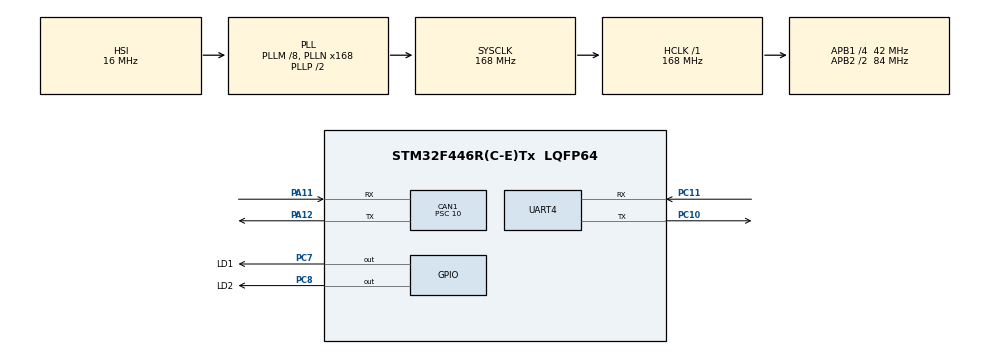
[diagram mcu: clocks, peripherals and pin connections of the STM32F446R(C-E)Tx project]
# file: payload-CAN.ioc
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CAN1.BS1=CAN_BS1_12TQ
CAN1.BS2=CAN_BS2_8TQ
CAN1.CalculateBaudRate=200000
CAN1.CalculateTimeBit=5000
CAN1.CalculateTimeQuantum=238.0952380952381
CAN1.Mode=CAN_MODE_NORMAL
CAN1.Prescaler=10
Mcu.Family=STM32F4
Mcu.Name=STM32F446R(C-E)Tx
Mcu.Package=LQFP64
NVIC.CAN1_RX0_IRQn=true\:0\:0\:false\:false\:true\:true\:true\:true
NVIC.CAN1_RX1_IRQn=true\:0\:0\:false\:false\:true\:true\:true\:true
NVIC.PriorityGroup=NVIC_PRIORITYGROUP_0
PA11.Mode=CAN_Activate
PA11.Signal=CAN1_RX
PA12.Mode=CAN_Activate
PA12.Signal=CAN1_TX
PC10.Mode=Asynchronous
PC10.Signal=UART4_TX
PC11.Mode=Asynchronous
PC11.Signal=UART4_RX
PC7.GPIO_Label=LD1
PC7.Signal=GPIO_Output
PC8.GPIO_Label=LD2
PC8.Signal=GPIO_Output
PH0-OSC_IN.Mode=HSE-External-Oscillator
PH0-OSC_IN.Signal=RCC_OSC_IN
PH1-OSC_OUT.Mode=HSE-External-Oscillator
PH1-OSC_OUT.Signal=RCC_OSC_OUT
ProjectManager.HeapSize=0x200
ProjectManager.StackSize=0x400
ProjectManager.TargetToolchain=STM32CubeIDE
RCC.48MHZClocksFreq_Value=84000000
RCC.AHBFreq_Value=168000000
RCC.APB1CLKDivider=RCC_HCLK_DIV4
RCC.APB1Freq_Value=42000000
RCC.APB1TimFreq_Value=84000000
RCC.APB2CLKDivider=RCC_HCLK_DIV2
RCC.APB2Freq_Value=84000000
RCC.APB2TimFreq_Value=168000000
RCC.CortexFreq_Value=168000000
RCC.FLatency-AdvancedSettings=FLASH_LATENCY_5
RCC.HCLKFreq_Value=168000000
RCC.HSE_VALUE=8000000
RCC.HSI_VALUE=16000000
RCC.PLLM=8
RCC.PLLN=168
RCC.SYSCLKFreq_VALUE=168000000
RCC.SYSCLKSource=RCC_SYSCLKSOURCE_PLLCLK
RCC.USBFreq_Value=168000000
RCC.VCOOutputFreq_Value=336000000
UART4.VirtualMode=Asynchronous
board=NUCLEO-F446RE

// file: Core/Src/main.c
/* USER CODE BEGIN Header */
/**
  ******************************************************************************
  * @file           : main.c
  * @brief          : Main program body
  ******************************************************************************
  * @attention
  *
  * Copyright (c) 2024 STMicroelectronics.
  * All rights reserved.
  *
  * This software is licensed under terms that can be found in the LICENSE file
  * in the root directory of this software component.
  * If no LICENSE file comes with this software, it is provided AS-IS.
  *
  ******************************************************************************
  */
/* USER CODE END Header */
#include "main.h"

/* USER CODE BEGIN Includes */
#include "serial_monitor.h"
#include "CAN_bus.h"
/* USER CODE END Includes */

CAN_HandleTypeDef hcan1;

UART_HandleTypeDef huart4;

void SystemClock_Config(void);
static void MX_GPIO_Init(void);
static void MX_CAN1_Init(void);
static void MX_UART4_Init(void);

/* USER CODE BEGIN 0 */
struct CAN_bus_handler can;

uint32_t TxMailbox;

void HAL_CAN_RxFifo0MsgPendingCallback(CAN_HandleTypeDef *hcan1)
{
	CAN_bus_receive(&can);
	printf("Message interrupt triggered");
}

//void HAL_CAN_RxFifo1MsgPendingCallback(CAN_HandleTypeDef *hcan1)
//{
//	CAN_RxHeaderTypeDef RxHeader;
//	uint8_t RxData[8];
//	printf("| AV -------------------------------\r\n");
//	while (HAL_CAN_GetRxFifoFillLevel(hcan1, CAN_RX_FIFO1) > 0)
//	{
//		HAL_CAN_GetRxMessage(hcan1, CAN_RX_FIFO1, &RxHeader, RxData);
//		switch (RxHeader.StdId)
//		{
//		case 0x200:
//			union CAN_msg_1_u msg1;
//			memcpy(&msg1, RxData, sizeof(RxData));
//			printf("| Received message 1. ok: %d, sampling state: %d, temperature control state: %d, target temp: %d, current temp: %d, battery voltage: %d\r\n",
//					msg1.msg.ok,
//					msg1.msg.sampling_state,
//					msg1.msg.temp_ctrl_state,
//					msg1.msg.target_temp,
//					msg1.msg.current_temp,
//					msg1.msg.battery_voltage);
//			break;
//		case 0x201:
//			union CAN_msg_2_u msg2;
//			memcpy(&msg2, RxData, sizeof(RxData));
//			printf("| Received message 2. x frequency: %d, y frequency: %d, z frequency: %d, x amplitude: %d\r\n",
//					msg2.msg.frqX,
//					msg2.msg.frqY,
//					msg2.msg.frqZ,
//					msg2.msg.ampX);
//			break;
//		case 0x202:
//			union CAN_msg_3_u msg3;
//			memcpy(&msg3, RxData, sizeof(RxData));
//			printf("| Received message 3. y amplitude: %d, z amplitude: %d, time: %ld\r\n",
//					msg3.msg.ampY,
//					msg3.msg.ampZ,
//					msg3.msg.time_elapsed);
//			break;
//		}
//	}
//	printf("| ----------------------------------\r\n\r\n");
//}

/* USER CODE END 0 */

int main(void)
{

  /* MCU Configuration--------------------------------------------------------*/

  /* Reset of all peripherals, Initializes the Flash interface and the Systick. */
  HAL_Init();

  /* Configure the system clock */
  SystemClock_Config();

  /* Initialize all configured peripherals */
  MX_GPIO_Init();
  MX_CAN1_Init();
  MX_UART4_Init();
  /* USER CODE BEGIN 2 */
  printf("\r\n\r\n\r\nInitializing...\r\n");

  if (HAL_CAN_ActivateNotification(&hcan1, CAN_IT_RX_FIFO1_MSG_PENDING) != HAL_OK)
  {
	  printf("activate notification error\r\n");
	  Error_Handler();
  }
  if (!CAN_bus_init(&can, &hcan1, 0x300))
  {
	  printf("can bus init error\r\n");
	  Error_Handler();
  }

  int count = 0;

  /* USER CODE END 2 */

  /* Infinite loop */
  /* USER CODE BEGIN WHILE */
  while (1)
  {
	printf("Sending packet...\r\n");
	if (!CAN_bus_send(&can,
			count % 2,
			(count + 1) % 2,
			count % 2,
			1 + count,
			2 + count,
			3 + count,
			4 + count,
			5 + count,
			6 + count,
			7 + count,
			8 + count,
			9 + count,
			HAL_GetTick()))
	{
		printf("can bus send error\r\n");
//		Error_Handler();
	}
	printf("Packet sent.\r\n");

//	CAN_TxHeaderTypeDef TxHeader;
//
//	TxHeader.DLC = 1;
//	TxHeader.IDE = CAN_ID_STD;
//	TxHeader.RTR = CAN_RTR_DATA;
//	TxHeader.TransmitGlobalTime = DISABLE;
//
//	uint8_t TxData[8];
//
//	switch (count)
//	{
//	case 0:
//		TxHeader.StdId = RESET_PAYLOAD;
//		break;
//	case 1:
//		TxHeader.StdId = TOGGLE_SAMPLING;
//		TxData[0] = 1;
//		break;
//	case 2:
//		TxHeader.StdId = TOGGLE_SAMPLING;
//		TxData[0] = 0;
//		break;
//	case 3:
//		TxHeader.StdId = TOGGLE_COOLER;
//		TxData[0] = 1;
//		break;
//	case 4:
//		TxHeader.StdId = TOGGLE_COOLER;
//		TxData[0] = 0;
//		break;
//	case 5:
//		TxHeader.StdId = LANDED;
//		break;
//	case 6:
//		TxHeader.StdId = SET_TEMPERATURE;
//		TxData[0] = 0;
//		break;
//	case 7:
//		TxHeader.StdId = SET_TEMPERATURE;
//		TxData[0] = 1;
//		break;
//	case 8:
//		TxHeader.StdId = SET_TEMPERATURE;
//		TxData[0] = 2;
//		break;
//	case 9:
//		TxHeader.StdId = SET_TEMPERATURE;
//		TxData[0] = 3;
//		break;
//	case 10:
//		TxHeader.StdId = SET_TEMPERATURE;
//		TxData[0] = 4;
//		break;
//	case 11:
//		TxHeader.StdId = SET_TEMPERATURE;
//		TxData[0] = 5;
//		break;
//	case 12:
//		TxHeader.StdId = SET_TEMPERATURE;
//		TxData[0] = 6;
//		break;
//	case 13:
//		TxHeader.StdId = SET_TEMPERATURE;
//		TxData[0] = 7;
//		break;
//	case 14:
//		TxHeader.StdId = TOGGLE_LAUNCH_MODE;
//		TxData[0] = 0;
//		break;
//	case 15:
//		TxHeader.StdId = TOGGLE_LAUNCH_MODE;
//		TxData[0] = 1;
//		break;
//	}
//
//	HAL_Delay(1000);
//
//	if (HAL_CAN_AddTxMessage(&hcan1, &TxHeader, TxData, &TxMailbox) != HAL_OK)
//	{
//		printf("can bus add tx message error\r\n");
//		Error_Handler();
//	}
//
//	count++;
//	count %= 16;

	if (can.command_ready)
	{
		struct command com = CAN_bus_parse_command(&can);

		char *type;
		int data = 0;
		switch (com.type)
		{
		case RESET_PAYLOAD:
			type = "RESET_PAYLOAD";
			break;
		case TOGGLE_SAMPLING:
			type = "TOGGLE_SAMPLING";
			data = com.data.on;
			break;
		case TOGGLE_COOLER:
			type = "TOGGLE_COOLER";
			data = com.data.on;
			break;
		case TOGGLE_LAUNCH_MODE:
			type = "TOGGLE_LAUNCH_MODE";
			data = com.data.on;
			break;
		case LANDED:
			type = "LANDED";
			break;
		case SET_TEMPERATURE:
			type = "SET_TEMPERATURE";
			data = com.data.temp;
			break;
		case NONE:
			type = "NONE";
			break;
		case INVALID:
			type = "INVALID";
			break;
		}
		printf("Command received: %s, Data: %d\r\n", type, data);
	}

	HAL_Delay(1000);
    /* USER CODE END WHILE */

  }
}

void SystemClock_Config(void)
{
  RCC_OscInitTypeDef RCC_OscInitStruct = {0};
  RCC_ClkInitTypeDef RCC_ClkInitStruct = {0};

  /** Configure the main internal regulator output voltage
  */
  __HAL_RCC_PWR_CLK_ENABLE();
  __HAL_PWR_VOLTAGESCALING_CONFIG(PWR_REGULATOR_VOLTAGE_SCALE1);

  /** Initializes the RCC Oscillators according to the specified parameters
  * in the RCC_OscInitTypeDef structure.
  */
  RCC_OscInitStruct.OscillatorType = RCC_OSCILLATORTYPE_HSI;
  RCC_OscInitStruct.HSIState = RCC_HSI_ON;
  RCC_OscInitStruct.HSICalibrationValue = RCC_HSICALIBRATION_DEFAULT;
  RCC_OscInitStruct.PLL.PLLState = RCC_PLL_ON;
  RCC_OscInitStruct.PLL.PLLSource = RCC_PLLSOURCE_HSI;
  RCC_OscInitStruct.PLL.PLLM = 8;
  RCC_OscInitStruct.PLL.PLLN = 168;
  RCC_OscInitStruct.PLL.PLLP = RCC_PLLP_DIV2;
  RCC_OscInitStruct.PLL.PLLQ = 2;
  RCC_OscInitStruct.PLL.PLLR = 2;
  if (HAL_RCC_OscConfig(&RCC_OscInitStruct) != HAL_OK)
  {
    Error_Handler();
  }

  /** Initializes the CPU, AHB and APB buses clocks
  */
  RCC_ClkInitStruct.ClockType = RCC_CLOCKTYPE_HCLK|RCC_CLOCKTYPE_SYSCLK
                              |RCC_CLOCKTYPE_PCLK1|RCC_CLOCKTYPE_PCLK2;
  RCC_ClkInitStruct.SYSCLKSource = RCC_SYSCLKSOURCE_PLLCLK;
  RCC_ClkInitStruct.AHBCLKDivider = RCC_SYSCLK_DIV1;
  RCC_ClkInitStruct.APB1CLKDivider = RCC_HCLK_DIV4;
  RCC_ClkInitStruct.APB2CLKDivider = RCC_HCLK_DIV2;

  if (HAL_RCC_ClockConfig(&RCC_ClkInitStruct, FLASH_LATENCY_5) != HAL_OK)
  {
    Error_Handler();
  }
}

static void MX_CAN1_Init(void)
{

  hcan1.Instance = CAN1;
  hcan1.Init.Prescaler = 10;
  hcan1.Init.Mode = CAN_MODE_NORMAL;
  hcan1.Init.SyncJumpWidth = CAN_SJW_1TQ;
  hcan1.Init.TimeSeg1 = CAN_BS1_12TQ;
  hcan1.Init.TimeSeg2 = CAN_BS2_8TQ;
  hcan1.Init.TimeTriggeredMode = DISABLE;
  hcan1.Init.AutoBusOff = DISABLE;
  hcan1.Init.AutoWakeUp = DISABLE;
  hcan1.Init.AutoRetransmission = DISABLE;
  hcan1.Init.ReceiveFifoLocked = DISABLE;
  hcan1.Init.TransmitFifoPriority = DISABLE;
  if (HAL_CAN_Init(&hcan1) != HAL_OK)
  {
    Error_Handler();
  }
  /* USER CODE BEGIN CAN1_Init 2 */

//    CAN_FilterTypeDef canfilterconfig;
//
//    canfilterconfig.FilterActivation = CAN_FILTER_ENABLE;
//    canfilterconfig.FilterBank = 10;  // anything between 0 to SlaveStartFilterBank
//    canfilterconfig.FilterFIFOAssignment = CAN_RX_FIFO1;
//    canfilterconfig.FilterIdHigh = 0x300 << 5;
//    canfilterconfig.FilterIdLow = 0x0000;
//    canfilterconfig.FilterMaskIdHigh = 0xFFFF << 5;
//    canfilterconfig.FilterMaskIdLow = 0x0000;
//    canfilterconfig.FilterMode = CAN_FILTERMODE_IDMASK;
//    canfilterconfig.FilterScale = CAN_FILTERSCALE_32BIT;
//    canfilterconfig.SlaveStartFilterBank = 13;  // 13 to 27 are assigned to slave CAN (CAN 2) OR 0 to 12 are assgned to CAN1
//
//    HAL_CAN_ConfigFilter(&hcan1, &canfilterconfig);
//
//    canfilterconfig.FilterActivation = CAN_FILTER_ENABLE;
//    canfilterconfig.FilterBank = 11;  // anything between 0 to SlaveStartFilterBank
//    canfilterconfig.FilterFIFOAssignment = CAN_RX_FIFO1;
//    canfilterconfig.FilterIdHigh = 0x301 << 5;
//    canfilterconfig.FilterIdLow = 0x0000;
//    canfilterconfig.FilterMaskIdHigh = 0xFFFF << 5;
//    canfilterconfig.FilterMaskIdLow = 0x0000;
//    canfilterconfig.FilterMode = CAN_FILTERMODE_IDMASK;
//    canfilterconfig.FilterScale = CAN_FILTERSCALE_32BIT;
//    canfilterconfig.SlaveStartFilterBank = 13;  // 13 to 27 are assigned to slave CAN (CAN 2) OR 0 to 12 are assgned to CAN1
//
//    HAL_CAN_ConfigFilter(&hcan1, &canfilterconfig);
//
//    canfilterconfig.FilterActivation = CAN_FILTER_ENABLE;
//    canfilterconfig.FilterBank = 12;  // anything between 0 to SlaveStartFilterBank
//    canfilterconfig.FilterFIFOAssignment = CAN_RX_FIFO1;
//    canfilterconfig.FilterIdHigh = 0x302 << 5;
//    canfilterconfig.FilterIdLow = 0x0000;
//    canfilterconfig.FilterMaskIdHigh = 0xFFFF << 5;
//    canfilterconfig.FilterMaskIdLow = 0x0000;
//    canfilterconfig.FilterMode = CAN_FILTERMODE_IDMASK;
//    canfilterconfig.FilterScale = CAN_FILTERSCALE_32BIT;
//    canfilterconfig.SlaveStartFilterBank = 13;  // 13 to 27 are assigned to slave CAN (CAN 2) OR 0 to 12 are assgned to CAN1
//
//    HAL_CAN_ConfigFilter(&hcan1, &canfilterconfig);

  /* USER CODE END CAN1_Init 2 */

}

static void MX_UART4_Init(void)
{

  huart4.Instance = UART4;
  huart4.Init.BaudRate = 115200;
  huart4.Init.WordLength = UART_WORDLENGTH_8B;
  huart4.Init.StopBits = UART_STOPBITS_1;
  huart4.Init.Parity = UART_PARITY_NONE;
  huart4.Init.Mode = UART_MODE_TX_RX;
  huart4.Init.HwFlowCtl = UART_HWCONTROL_NONE;
  huart4.Init.OverSampling = UART_OVERSAMPLING_16;
  if (HAL_UART_Init(&huart4) != HAL_OK)
  {
    Error_Handler();
  }

}

static void MX_GPIO_Init(void)
{
  GPIO_InitTypeDef GPIO_InitStruct = {0};

  /* GPIO Ports Clock Enable */
  __HAL_RCC_GPIOH_CLK_ENABLE();
  __HAL_RCC_GPIOC_CLK_ENABLE();
  __HAL_RCC_GPIOA_CLK_ENABLE();

  /*Configure GPIO pin Output Level */
  HAL_GPIO_WritePin(GPIOC, LD1_Pin|LD2_Pin, GPIO_PIN_RESET);

  /*Configure GPIO pins : LD1_Pin LD2_Pin */
  GPIO_InitStruct.Pin = LD1_Pin|LD2_Pin;
  GPIO_InitStruct.Mode = GPIO_MODE_OUTPUT_PP;
  GPIO_InitStruct.Pull = GPIO_NOPULL;
  GPIO_InitStruct.Speed = GPIO_SPEED_FREQ_LOW;
  HAL_GPIO_Init(GPIOC, &GPIO_InitStruct);

}

void Error_Handler(void)
{
  /* USER CODE BEGIN Error_Handler_Debug */
  /* User can add his own implementation to report the HAL error return state */
  __disable_irq();
  HAL_GPIO_TogglePin(LD2_GPIO_Port, LD2_Pin);
  printf("Error\r\n");
  while (1)
  {
  }
  /* USER CODE END Error_Handler_Debug */
}
